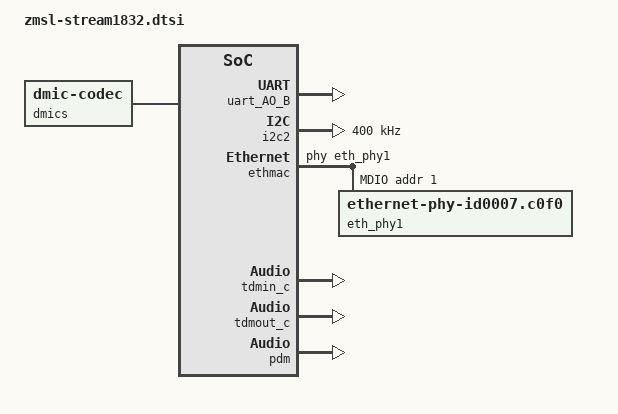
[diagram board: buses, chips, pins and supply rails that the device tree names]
// SPDX-License-Identifier: (GPL-2.0+ OR MIT)
/*
 * Copyright (C) 2022 StreamUnlimited, Inc. All rights reserved.
 * Copyright (C) 2023 Zuma Array Ltd. All rights reserved.
 */


/*
 * Overrides for ZMSL-01
 */

/ {
	sue {
		carrierboard = "zumasl";	// matches U-Boot
	};

	aliases {
		/delete-property/ spi0;
		serial2 = &uart_AO_B;
		i2c0 = &i2c2;
	};

	dmics: audio-codec-3 {
		#sound-dai-cells = <0>;
		compatible = "dmic-codec";
		num-channels = <4>;
		wakeup-delay-ms = <50>;
		status = "okay";
		sound-name-prefix = "MIC";
	};

	sound {
		audio-aux-devs = <&tdmin_c>, <&tdmout_c>;
						/* "sink", 		"source" */
		audio-routing = "TDM_C Playback", "TDMOUT_C OUT",
						"TDMOUT_C IN 1", "FRDDR_B OUT 2",
						"SPDIFOUT IN 2", "FRDDR_C OUT 3",
						"TODDR_C IN 3", "SPDIFIN Capture",
						"TDMIN_C IN 2", "TDM_C Capture",
						"TDMIN_C IN 5", "TDM_C Loopback",
						"TODDR_B IN 2", "TDMIN_C OUT",
						"TODDR_A IN 4", "PDM Capture";

		dai-link-6 {
			sound-dai = <&pdm>;

			codec {
				sound-dai = <&dmics>;
			};
		};

		dai-link-7 {
			sound-dai = <&tdmif_c>;
			dai-format = "i2s";
			dai-tdm-slot-tx-mask-0 = <1 1>;
			dai-tdm-slot-rx-mask-1 = <1 0>;
			dai-tdm-slot-num = <2>;
			dai-tdm-slot-width = <32>;
			mclk-fs = <0>;
			continuous-clock;
			system-clock-frequency = <24576000>;
		};
	};
};

&spicc0 {
	status = "disabled";
};

&i2c1 {
	status = "disabled";
};

&uart_AO_B {
	status = "okay";
	pinctrl-names = "default";
	pinctrl-0 = <&uart_ao_b_z_pins>;
};

&i2c2 {
	status = "okay";
	pinctrl-names = "default";
	pinctrl-0 = <&i2c2_a_pins>;
	clock-frequency = <400000>;
};

&ethmac {
	phy-handle = <&eth_phy1>;
	mdio {
		/delete-node/ ethernet-phy@0;
		eth_phy1: ethernet-phy@1 {
			reg = <1>;
			interrupt-names = "macirq";
			compatible = "ethernet-phy-id0007.c0f0", "ethernet-phy-ieee802.3-c22";
		};
	};
};

&button_sense {
	linux,code = <KEY_SLEEP>;
};

&gpio_ao {
	gpio-line-names = "", "", "", "NPB_IN_N",
		"SDIO_WIFI", "", "", "PHY_RESET_N",
		"", "","", "",
		"USB_DRVVBUS", "MUTE_N", "";
};

&gpio {
	gpio-line-names = "", "USB_ID_DET", "MCU_RST_EXT", "",
		"PDOWN", "", "", "",
		"", "", "", "",
		"", "", "", "",
		"", "", "", "",
		"", "", "", "",
		"", "", "", "",
		"", "", "", "",
		"", "", "", "",
		"", "", "", "",
		"", "", "", "",
		"", "", "", "",
		"", "", "", "",
		"", "", "", "",
		"", "", "", "",
		"", "", "", "",
		"", "", "", "",
		"", "", "", "",
		"", "", "", "",
		"", "", "", "",
		"", "", "", "",
		"", "";
};

&tdmif_b {
	status = "disabled";
};

&tdmin_c {
	status = "okay";
};

&tdmout_c {
	status = "okay";
};

&pdm {
	pinctrl-0 = <&pdm_dclk_a14_pins>, <&pdm_din0_pins>, <&pdm_din1_pins>;
	pinctrl-names = "default";
	status = "okay";
	assigned-clocks = <&clkc_audio AUD_CLKID_PDM_SYSCLK_SEL>, <&clkc_audio AUD_CLKID_PDM_DCLK_SEL>;
	assigned-clock-parents = <&clkc CLKID_HIFI_PLL>, <&clkc CLKID_HIFI_PLL>;
};
